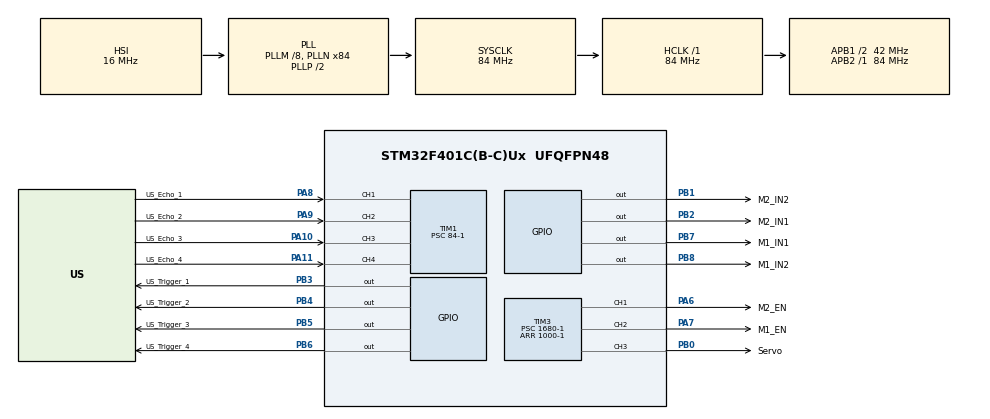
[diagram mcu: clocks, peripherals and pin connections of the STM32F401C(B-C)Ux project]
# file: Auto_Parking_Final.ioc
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FREERTOS.BinarySemaphores01=Parking_Sem1,Dynamic,NULL;Sensor_Sem1,Dynamic,NULL
FREERTOS.Tasks01=Searching_Task,8,128,Searching_Mode,Default,NULL,Dynamic,NULL,NULL;Parking_Task,16,128,Parking_Mode,Default,NULL,Dynamic,NULL,NULL;UltraSonic1Task,24,128,UltraSonic1_Read,Default,NULL,Dynamic,NULL,NULL;UltraSonic2Task,24,128,UltraSonic2_Read,Default,NULL,Dynamic,NULL,NULL;UltraSonic3Task,32,128,UltraSonic3_Read,Default,NULL,Dynamic,NULL,NULL;UltraSonic4Task,24,128,UltraSonic4_Read,Default,NULL,Dynamic,NULL,NULL
Mcu.Family=STM32F4
Mcu.Name=STM32F401C(B-C)Ux
Mcu.Package=UFQFPN48
NVIC.PriorityGroup=NVIC_PRIORITYGROUP_4
NVIC.TIM1_UP_TIM10_IRQn=true\:15\:0\:false\:false\:true\:false\:false\:true\:true
NVIC.TimeBase=TIM1_UP_TIM10_IRQn
NVIC.TimeBaseIP=TIM10
PA10.GPIO_Label=US_Echo_3
PA10.Signal=S_TIM1_CH3
PA11.GPIO_Label=US_Echo_4
PA11.Signal=S_TIM1_CH4
PA13.Mode=Serial_Wire
PA13.Signal=SYS_JTMS-SWDIO
PA14.Mode=Serial_Wire
PA14.Signal=SYS_JTCK-SWCLK
PA6.GPIO_Label=M2_EN
PA6.Signal=S_TIM3_CH1
PA7.GPIO_Label=M1_EN
PA7.Signal=S_TIM3_CH2
PA8.GPIO_Label=US_Echo_1
PA8.Signal=S_TIM1_CH1
PA9.GPIO_Label=US_Echo_2
PA9.Signal=S_TIM1_CH2
PB0.GPIO_Label=Servo
PB0.Signal=S_TIM3_CH3
PB1.GPIO_Label=M2_IN2
PB1.Signal=GPIO_Output
PB2.GPIO_Label=M2_IN1
PB2.Signal=GPIO_Output
PB3.GPIO_Label=US_Trigger_1
PB3.Signal=GPIO_Output
PB4.GPIO_Label=US_Trigger_2
PB4.Signal=GPIO_Output
PB5.GPIO_Label=US_Trigger_3
PB5.Signal=GPIO_Output
PB6.GPIO_Label=US_Trigger_4
PB6.Signal=GPIO_Output
PB7.GPIO_Label=M1_IN1
PB7.Signal=GPIO_Output
PB8.GPIO_Label=M1_IN2
PB8.Signal=GPIO_Output
ProjectManager.HeapSize=0x200
ProjectManager.StackSize=0x400
ProjectManager.TargetToolchain=STM32CubeIDE
RCC.48MHZClocksFreq_Value=42000000
RCC.AHBFreq_Value=84000000
RCC.APB1CLKDivider=RCC_HCLK_DIV2
RCC.APB1Freq_Value=42000000
RCC.APB1TimFreq_Value=84000000
RCC.APB2Freq_Value=84000000
RCC.APB2TimFreq_Value=84000000
RCC.CortexFreq_Value=84000000
RCC.HCLKFreq_Value=84000000
RCC.HSE_VALUE=25000000
RCC.HSI_VALUE=16000000
RCC.LSE_VALUE=32768
RCC.PLLM=8
RCC.PLLN=84
RCC.SYSCLKFreq_VALUE=84000000
RCC.SYSCLKSource=RCC_SYSCLKSOURCE_PLLCLK
RCC.VCOOutputFreq_Value=168000000
SH.S_TIM1_CH1.0=TIM1_CH1,Input_Capture1_from_TI1
SH.S_TIM1_CH2.0=TIM1_CH2,Input_Capture2_from_TI2
SH.S_TIM1_CH3.0=TIM1_CH3,Input_Capture3_from_TI3
SH.S_TIM1_CH4.0=TIM1_CH4,Input_Capture4_from_TI4
SH.S_TIM3_CH1.0=TIM3_CH1,PWM Generation1 CH1
SH.S_TIM3_CH2.0=TIM3_CH2,PWM Generation2 CH2
SH.S_TIM3_CH3.0=TIM3_CH3,PWM Generation3 CH3
TIM1.AutoReloadPreload=TIM_AUTORELOAD_PRELOAD_ENABLE
TIM1.Channel-Input_Capture1_from_TI1=TIM_CHANNEL_1
TIM1.Channel-Input_Capture2_from_TI2=TIM_CHANNEL_2
TIM1.Channel-Input_Capture3_from_TI3=TIM_CHANNEL_3
TIM1.Channel-Input_Capture4_from_TI4=TIM_CHANNEL_4
TIM1.Prescaler=84-1
TIM3.AutoReloadPreload=TIM_AUTORELOAD_PRELOAD_ENABLE
TIM3.Channel-PWM\ Generation1\ CH1=TIM_CHANNEL_1
TIM3.Channel-PWM\ Generation2\ CH2=TIM_CHANNEL_2
TIM3.Channel-PWM\ Generation3\ CH3=TIM_CHANNEL_3
TIM3.Period=1000-1
TIM3.Prescaler=1680-1
VP_FREERTOS_VS_CMSIS_V2.Mode=CMSIS_V2
VP_SYS_VS_tim10.Mode=TIM10
VP_TIM1_VS_ClockSourceINT.Mode=Internal
VP_TIM3_VS_ClockSourceINT.Mode=Internal
board=custom

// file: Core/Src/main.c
/* USER CODE BEGIN Header */
/**
  ******************************************************************************
  * @file           : main.c
  * @brief          : Main program body
  ******************************************************************************
  * @attention
  *
  * Copyright (c) 2024 STMicroelectronics.
  * All rights reserved.
  *
  * This software is licensed under terms that can be found in the LICENSE file
  * in the root directory of this software component.
  * If no LICENSE file comes with this software, it is provided AS-IS.
  *
  ******************************************************************************
  */
/* USER CODE END Header */
#include "main.h"
#include "cmsis_os.h"
#include "tim.h"
#include "gpio.h"

void SystemClock_Config(void);
void MX_FREERTOS_Init(void);

int main(void)
{

  /* MCU Configuration--------------------------------------------------------*/

  /* Reset of all peripherals, Initializes the Flash interface and the Systick. */
  HAL_Init();

  /* Configure the system clock */
  SystemClock_Config();

  /* Initialize all configured peripherals */
  MX_GPIO_Init();
  MX_TIM1_Init();
  MX_TIM3_Init();
  /* USER CODE BEGIN 2 */
  	HAL_TIM_IC_Start(&htim1, TIM_CHANNEL_4);
    HAL_TIM_IC_Start(&htim1, TIM_CHANNEL_3);
    HAL_TIM_IC_Start(&htim1, TIM_CHANNEL_2);
    HAL_TIM_IC_Start(&htim1, TIM_CHANNEL_1);

    htim3.Instance->CCR1 = 550;
    htim3.Instance->CCR2 = 500;
    HAL_TIM_PWM_Start(&htim3, TIM_CHANNEL_1);
    HAL_TIM_PWM_Start(&htim3, TIM_CHANNEL_2);
  /* USER CODE END 2 */

  /* Init scheduler */
  osKernelInitialize();

  /* Call init function for freertos objects (in freertos.c) */
  MX_FREERTOS_Init();

  /* Start scheduler */
  osKernelStart();

  /* We should never get here as control is now taken by the scheduler */
  /* Infinite loop */
  while (1)
  {

  }
}

void SystemClock_Config(void)
{
  RCC_OscInitTypeDef RCC_OscInitStruct = {0};
  RCC_ClkInitTypeDef RCC_ClkInitStruct = {0};

  /** Configure the main internal regulator output voltage
  */
  __HAL_RCC_PWR_CLK_ENABLE();
  __HAL_PWR_VOLTAGESCALING_CONFIG(PWR_REGULATOR_VOLTAGE_SCALE2);

  /** Initializes the RCC Oscillators according to the specified parameters
  * in the RCC_OscInitTypeDef structure.
  */
  RCC_OscInitStruct.OscillatorType = RCC_OSCILLATORTYPE_HSI;
  RCC_OscInitStruct.HSIState = RCC_HSI_ON;
  RCC_OscInitStruct.HSICalibrationValue = RCC_HSICALIBRATION_DEFAULT;
  RCC_OscInitStruct.PLL.PLLState = RCC_PLL_ON;
  RCC_OscInitStruct.PLL.PLLSource = RCC_PLLSOURCE_HSI;
  RCC_OscInitStruct.PLL.PLLM = 8;
  RCC_OscInitStruct.PLL.PLLN = 84;
  RCC_OscInitStruct.PLL.PLLP = RCC_PLLP_DIV2;
  RCC_OscInitStruct.PLL.PLLQ = 4;
  if (HAL_RCC_OscConfig(&RCC_OscInitStruct) != HAL_OK)
  {
    Error_Handler();
  }

  /** Initializes the CPU, AHB and APB buses clocks
  */
  RCC_ClkInitStruct.ClockType = RCC_CLOCKTYPE_HCLK|RCC_CLOCKTYPE_SYSCLK
                              |RCC_CLOCKTYPE_PCLK1|RCC_CLOCKTYPE_PCLK2;
  RCC_ClkInitStruct.SYSCLKSource = RCC_SYSCLKSOURCE_PLLCLK;
  RCC_ClkInitStruct.AHBCLKDivider = RCC_SYSCLK_DIV1;
  RCC_ClkInitStruct.APB1CLKDivider = RCC_HCLK_DIV2;
  RCC_ClkInitStruct.APB2CLKDivider = RCC_HCLK_DIV1;

  if (HAL_RCC_ClockConfig(&RCC_ClkInitStruct, FLASH_LATENCY_2) != HAL_OK)
  {
    Error_Handler();
  }
}

void HAL_TIM_PeriodElapsedCallback(TIM_HandleTypeDef *htim)
{
  if (htim->Instance == TIM10) {
    HAL_IncTick();
  }
}

void Error_Handler(void)
{
  __disable_irq();
  while (1)
  {
  }
}

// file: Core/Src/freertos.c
/* USER CODE BEGIN Header */
/**
  ******************************************************************************
  * File Name          : freertos.c
  * Description        : Code for freertos applications
  ******************************************************************************
  * @attention
  *
  * Copyright (c) 2024 STMicroelectronics.
  * All rights reserved.
  *
  * This software is licensed under terms that can be found in the LICENSE file
  * in the root directory of this software component.
  * If no LICENSE file comes with this software, it is provided AS-IS.
  *
  ******************************************************************************
  */
/* USER CODE END Header */

#include "FreeRTOS.h"
#include "task.h"
#include "main.h"
#include "cmsis_os.h"

/* USER CODE BEGIN Includes */
#include "Motors.h"
#include "UltraSonic.h"
#include "Servo.h"
#include "math.h"
#include <stdlib.h>
/* USER CODE END Includes */

/* USER CODE BEGIN PD */
#define PARKING_OK		1
#define PARKING_NOK		0
/* USER CODE END PD */

/* USER CODE BEGIN Variables */
uint32_t Parking_status = PARKING_NOK;
/* USER CODE END Variables */
/* Definitions for Searching_Task */
osThreadId_t Searching_TaskHandle;
const osThreadAttr_t Searching_Task_attributes = {
  .name = "Searching_Task",
  .stack_size = 128 * 4,
  .priority = (osPriority_t) osPriorityLow,
};
/* Definitions for Parking_Task */
osThreadId_t Parking_TaskHandle;
const osThreadAttr_t Parking_Task_attributes = {
  .name = "Parking_Task",
  .stack_size = 128 * 4,
  .priority = (osPriority_t) osPriorityBelowNormal,
};
/* Definitions for UltraSonic1Task */
osThreadId_t UltraSonic1TaskHandle;
const osThreadAttr_t UltraSonic1Task_attributes = {
  .name = "UltraSonic1Task",
  .stack_size = 128 * 4,
  .priority = (osPriority_t) osPriorityNormal,
};
/* Definitions for UltraSonic2Task */
osThreadId_t UltraSonic2TaskHandle;
const osThreadAttr_t UltraSonic2Task_attributes = {
  .name = "UltraSonic2Task",
  .stack_size = 128 * 4,
  .priority = (osPriority_t) osPriorityNormal,
};
/* Definitions for UltraSonic3Task */
osThreadId_t UltraSonic3TaskHandle;
const osThreadAttr_t UltraSonic3Task_attributes = {
  .name = "UltraSonic3Task",
  .stack_size = 128 * 4,
  .priority = (osPriority_t) osPriorityAboveNormal,
};
/* Definitions for UltraSonic4Task */
osThreadId_t UltraSonic4TaskHandle;
const osThreadAttr_t UltraSonic4Task_attributes = {
  .name = "UltraSonic4Task",
  .stack_size = 128 * 4,
  .priority = (osPriority_t) osPriorityNormal,
};
/* Definitions for Parking_Sem1 */
osSemaphoreId_t Parking_Sem1Handle;
const osSemaphoreAttr_t Parking_Sem1_attributes = {
  .name = "Parking_Sem1"
};
/* Definitions for Sensor_Sem1 */
osSemaphoreId_t Sensor_Sem1Handle;
const osSemaphoreAttr_t Sensor_Sem1_attributes = {
  .name = "Sensor_Sem1"
};

void Searching_Mode(void *argument);
void Parking_Mode(void *argument);
void UltraSonic1_Read(void *argument);
void UltraSonic2_Read(void *argument);
void UltraSonic3_Read(void *argument);
void UltraSonic4_Read(void *argument);

void MX_FREERTOS_Init(void); /* (MISRA C 2004 rule 8.1) */

void MX_FREERTOS_Init(void) {

  /* Create the semaphores(s) */
  /* creation of Parking_Sem1 */
  Parking_Sem1Handle = osSemaphoreNew(1, 0, &Parking_Sem1_attributes);

  /* creation of Sensor_Sem1 */
  Sensor_Sem1Handle = osSemaphoreNew(1,1, &Sensor_Sem1_attributes);

  /* Create the thread(s) */
  /* creation of Searching_Task */
  Searching_TaskHandle = osThreadNew(Searching_Mode, NULL, &Searching_Task_attributes);

  /* creation of Parking_Task */
  Parking_TaskHandle = osThreadNew(Parking_Mode, NULL, &Parking_Task_attributes);

  /* creation of UltraSonic1Task */
  UltraSonic1TaskHandle = osThreadNew(UltraSonic1_Read, NULL, &UltraSonic1Task_attributes);

  /* creation of UltraSonic2Task */
  UltraSonic2TaskHandle = osThreadNew(UltraSonic2_Read, NULL, &UltraSonic2Task_attributes);

  /* creation of UltraSonic3Task */
  UltraSonic3TaskHandle = osThreadNew(UltraSonic3_Read, NULL, &UltraSonic3Task_attributes);

  /* creation of UltraSonic4Task */
  UltraSonic4TaskHandle = osThreadNew(UltraSonic4_Read, NULL, &UltraSonic4Task_attributes);

}

void Searching_Mode(void *argument)
{
  /* USER CODE BEGIN Searching_Mode */
  /* Infinite loop */
  for(;;)
  {
	  if(Parking_status == PARKING_NOK){
		  //HAL_Delay(2000);
		  Servo_Rotate_Angle(0, SERVO_TURN_LEFT);
		  //HAL_Delay(10);
		 // Motor_Stop();
		  Motor_ForWard(300);

		  while((distance[US_ECHO_CH3]<15)){
			  	 Motor_ForWard(300);
			  	 //HAL_Delay(30);
			  	 osDelay(30);
			  	 Motor_Stop();
			  	 //HAL_Delay(10);
			  	 osDelay(20);
		  }
		  Motor_Stop();
	      //HAL_Delay(1000);
		 // osDelay(1000);
		  //HAL_Delay(15);
		  while((distance[US_ECHO_CH2]>15)){
		      Motor_Stop();
			  //HAL_Delay(10);
			  osDelay(20);
			  Motor_ForWard(300);
		  //while(distance[US_ECHO_CH2]>=15);
		      //HAL_Delay(30);
			  osDelay(30);
		  }
	      Motor_Stop();
	      //HAL_Delay(1000);
		  osDelay(1000);
		  Parking_status = PARKING_OK;
		  osSemaphoreRelease(Parking_Sem1Handle);

	  }
	  else{/*Nothing*/}

    //osDelay(100);
  }
  /* USER CODE END Searching_Mode */
}

void Parking_Mode(void *argument)
{
  /* USER CODE BEGIN Parking_Mode */
	//int i=0;
  /* Infinite loop */
  for(;;)
  {

		osSemaphoreAcquire(Parking_Sem1Handle,osWaitForever);
		while(Parking_status != PARKING_OK);
		Servo_Rotate_Angle(15, SERVO_TURN_RIGHT);
		while (distance[US_ECHO_CH2]<20){
					 Motor_ForWard(300);
					 //HAL_Delay(20);
					  osDelay(20);
					 Motor_Stop();
					 //HAL_Delay(20);
					  osDelay(20);
					}
		Motor_Stop();
		//HAL_Delay(1000);
		  osDelay(1000);
		Servo_Rotate_Angle(15, SERVO_TURN_LEFT);
		//HAL_Delay(50);

		while (distance[US_ECHO_CH4]>15){
			 Motor_BackWard(300);
			 //HAL_Delay(20);
			  osDelay(20);
			 Motor_Stop();
			 //HAL_Delay(20);
			  osDelay(20);
			}
		Motor_Stop();
		//HAL_Delay(1000);
		  osDelay(1000);
		Servo_Rotate_Angle(15, SERVO_TURN_RIGHT);
		//HAL_Delay(500);
		//HAL_Delay(50);
		while (distance[US_ECHO_CH4]>10){
			Motor_BackWard(300);
			//HAL_Delay(20);
			  osDelay(30);
			Motor_Stop();
			//HAL_Delay(20);
			  osDelay(20);
					}
		Motor_Stop();
		Servo_Rotate_Angle(0, SERVO_TURN_LEFT);
		osDelay(1000);
		while (abs(distance[US_ECHO_CH1]-distance[US_ECHO_CH4])>=3){
				//Motor_Stop();
				//Servo_Rotate_Angle(0, SERVO_TURN_LEFT);
				//Parking_status = PARKING_OK;
				//HAL_Delay(10000);

				if(distance[US_ECHO_CH4]<5){
				Motor_ForWard(300);
				//HAL_Delay(10);
				//Motor_Stop();
				//HAL_Delay(10);
			    }

			    else if(distance[US_ECHO_CH1]<5){
				Motor_BackWard(300);
				//HAL_Delay(20);
				//Motor_Stop();
				//HAL_Delay(20);

				}
				else{}
		}
		Motor_Stop();
		/*HAL_Delay(100);
		Servo_Rotate_Angle(15, SERVO_TURN_RIGHT);
	    HAL_Delay(50);
	    Motor_BackWard(300);
	    HAL_Delay(1000);
		if (abs(distance[US_ECHO_CH1]-distance[US_ECHO_CH4])<=5){
		Motor_Stop();
		Servo_Rotate_Angle(0, SERVO_TURN_LEFT);
		//Parking_status = PARKING_OK;
		HAL_Delay(10000);
		}
		else if(distance[US_ECHO_CH4]<7){
		Motor_ForWard(300);
		HAL_Delay(10);
	    }
	    else if(distance[US_ECHO_CH1]<7){
		Motor_BackWard(300);
		HAL_Delay(10);
		}
		else{}
*/
    //osDelay(100);
  }
  /* USER CODE END Parking_Mode */
}

void UltraSonic1_Read(void *argument)
{
  /* USER CODE BEGIN UltraSonic1_Read */
  /* Infinite loop */
  for(;;)
  {
	 osSemaphoreAcquire(Sensor_Sem1Handle,100);
	 UltraSonic_Read(US_Trigger_1_Pin);
     osDelay(10);
  }
  /* USER CODE END UltraSonic1_Read */
}

void UltraSonic2_Read(void *argument)
{
  /* USER CODE BEGIN UltraSonic2_Read */
  /* Infinite loop */
  for(;;)
  {
	 osSemaphoreAcquire(Sensor_Sem1Handle,100);
	 UltraSonic_Read(US_Trigger_2_Pin);
     osDelay(10);
  }
  /* USER CODE END UltraSonic2_Read */
}

void UltraSonic3_Read(void *argument)
{
  /* USER CODE BEGIN UltraSonic3_Read */
  /* Infinite loop */
  for(;;)
  {
	 osSemaphoreAcquire(Sensor_Sem1Handle,100);
	 UltraSonic_Read(US_Trigger_3_Pin);
	 osDelay(10);
  }
  /* USER CODE END UltraSonic3_Read */
}

void UltraSonic4_Read(void *argument)
{
  /* USER CODE BEGIN UltraSonic4_Read */
  /* Infinite loop */
  for(;;)
  {
	 osSemaphoreAcquire(Sensor_Sem1Handle,100);
	 UltraSonic_Read(US_Trigger_4_Pin);
     osDelay(10);
  }
  /* USER CODE END UltraSonic4_Read */
}
